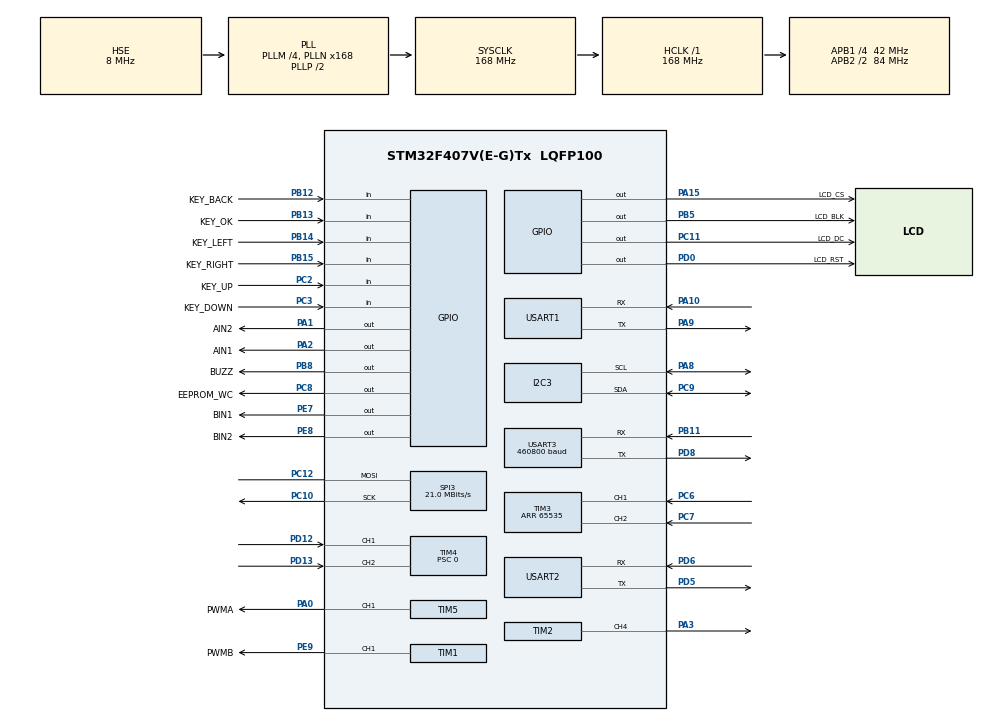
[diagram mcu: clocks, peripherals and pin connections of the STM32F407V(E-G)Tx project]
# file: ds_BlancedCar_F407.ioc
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Dma.Request0=USART1_RX
Dma.Request1=USART1_TX
Dma.Request2=SPI3_TX
Dma.Request3=USART3_RX
Dma.Request4=USART3_TX
Dma.Request5=TIM2_CH2/CH4
Dma.Request6=USART2_RX
Dma.SPI3_TX.2.Direction=DMA_MEMORY_TO_PERIPH
Dma.SPI3_TX.2.FIFOMode=DMA_FIFOMODE_DISABLE
Dma.SPI3_TX.2.Instance=DMA1_Stream7
Dma.SPI3_TX.2.MemDataAlignment=DMA_MDATAALIGN_BYTE
Dma.SPI3_TX.2.MemInc=DMA_MINC_ENABLE
Dma.SPI3_TX.2.Mode=DMA_NORMAL
Dma.SPI3_TX.2.PeriphDataAlignment=DMA_PDATAALIGN_BYTE
Dma.SPI3_TX.2.PeriphInc=DMA_PINC_DISABLE
Dma.SPI3_TX.2.Priority=DMA_PRIORITY_LOW
Dma.TIM2_CH2/CH4.5.Direction=DMA_MEMORY_TO_PERIPH
Dma.TIM2_CH2/CH4.5.FIFOMode=DMA_FIFOMODE_DISABLE
Dma.TIM2_CH2/CH4.5.Instance=DMA1_Stream6
Dma.TIM2_CH2/CH4.5.MemDataAlignment=DMA_MDATAALIGN_WORD
Dma.TIM2_CH2/CH4.5.MemInc=DMA_MINC_ENABLE
Dma.TIM2_CH2/CH4.5.Mode=DMA_CIRCULAR
Dma.TIM2_CH2/CH4.5.PeriphDataAlignment=DMA_PDATAALIGN_WORD
Dma.TIM2_CH2/CH4.5.PeriphInc=DMA_PINC_DISABLE
Dma.TIM2_CH2/CH4.5.Priority=DMA_PRIORITY_LOW
Dma.USART1_RX.0.Direction=DMA_PERIPH_TO_MEMORY
Dma.USART1_RX.0.FIFOMode=DMA_FIFOMODE_DISABLE
Dma.USART1_RX.0.Instance=DMA2_Stream2
Dma.USART1_RX.0.MemDataAlignment=DMA_MDATAALIGN_BYTE
Dma.USART1_RX.0.MemInc=DMA_MINC_ENABLE
Dma.USART1_RX.0.Mode=DMA_NORMAL
Dma.USART1_RX.0.PeriphDataAlignment=DMA_PDATAALIGN_BYTE
Dma.USART1_RX.0.PeriphInc=DMA_PINC_DISABLE
Dma.USART1_RX.0.Priority=DMA_PRIORITY_LOW
Dma.USART1_TX.1.Direction=DMA_MEMORY_TO_PERIPH
Dma.USART1_TX.1.FIFOMode=DMA_FIFOMODE_DISABLE
Dma.USART1_TX.1.Instance=DMA2_Stream7
Dma.USART1_TX.1.MemDataAlignment=DMA_MDATAALIGN_BYTE
Dma.USART1_TX.1.MemInc=DMA_MINC_ENABLE
Dma.USART1_TX.1.Mode=DMA_NORMAL
Dma.USART1_TX.1.PeriphDataAlignment=DMA_PDATAALIGN_BYTE
Dma.USART1_TX.1.PeriphInc=DMA_PINC_DISABLE
Dma.USART1_TX.1.Priority=DMA_PRIORITY_LOW
Dma.USART2_RX.6.Direction=DMA_PERIPH_TO_MEMORY
Dma.USART2_RX.6.FIFOMode=DMA_FIFOMODE_DISABLE
Dma.USART2_RX.6.Instance=DMA1_Stream5
Dma.USART2_RX.6.MemDataAlignment=DMA_MDATAALIGN_BYTE
Dma.USART2_RX.6.MemInc=DMA_MINC_ENABLE
Dma.USART2_RX.6.Mode=DMA_NORMAL
Dma.USART2_RX.6.PeriphDataAlignment=DMA_PDATAALIGN_BYTE
Dma.USART2_RX.6.PeriphInc=DMA_PINC_DISABLE
Dma.USART2_RX.6.Priority=DMA_PRIORITY_LOW
Dma.USART3_RX.3.Direction=DMA_PERIPH_TO_MEMORY
Dma.USART3_RX.3.FIFOMode=DMA_FIFOMODE_DISABLE
Dma.USART3_RX.3.Instance=DMA1_Stream1
Dma.USART3_RX.3.MemDataAlignment=DMA_MDATAALIGN_BYTE
Dma.USART3_RX.3.MemInc=DMA_MINC_ENABLE
Dma.USART3_RX.3.Mode=DMA_NORMAL
Dma.USART3_RX.3.PeriphDataAlignment=DMA_PDATAALIGN_BYTE
Dma.USART3_RX.3.PeriphInc=DMA_PINC_DISABLE
Dma.USART3_RX.3.Priority=DMA_PRIORITY_VERY_HIGH
Dma.USART3_TX.4.Direction=DMA_MEMORY_TO_PERIPH
Dma.USART3_TX.4.FIFOMode=DMA_FIFOMODE_DISABLE
Dma.USART3_TX.4.Instance=DMA1_Stream3
Dma.USART3_TX.4.MemDataAlignment=DMA_MDATAALIGN_BYTE
Dma.USART3_TX.4.MemInc=DMA_MINC_ENABLE
Dma.USART3_TX.4.Mode=DMA_NORMAL
Dma.USART3_TX.4.PeriphDataAlignment=DMA_PDATAALIGN_BYTE
Dma.USART3_TX.4.PeriphInc=DMA_PINC_DISABLE
Dma.USART3_TX.4.Priority=DMA_PRIORITY_VERY_HIGH
Mcu.Family=STM32F4
Mcu.Name=STM32F407V(E-G)Tx
Mcu.Package=LQFP100
NVIC.DMA1_Stream1_IRQn=true\:5\:0\:true\:false\:true\:false\:true\:true
NVIC.DMA1_Stream3_IRQn=true\:5\:0\:true\:false\:true\:false\:true\:true
NVIC.DMA1_Stream5_IRQn=true\:5\:0\:true\:false\:true\:false\:true\:true
NVIC.DMA1_Stream6_IRQn=true\:5\:0\:true\:false\:true\:false\:true\:true
NVIC.DMA1_Stream7_IRQn=true\:1\:0\:true\:false\:true\:false\:true\:true
NVIC.DMA2_Stream2_IRQn=true\:5\:0\:true\:false\:true\:false\:true\:true
NVIC.DMA2_Stream7_IRQn=true\:5\:0\:true\:false\:true\:false\:true\:true
NVIC.PriorityGroup=NVIC_PRIORITYGROUP_3
NVIC.SPI3_IRQn=true\:1\:0\:true\:false\:true\:true\:true\:true
NVIC.TIM1_UP_TIM10_IRQn=true\:1\:0\:true\:false\:true\:true\:true\:true
NVIC.TIM8_BRK_TIM12_IRQn=true\:0\:1\:false\:false\:true\:true\:true\:true
NVIC.TIM8_TRG_COM_TIM14_IRQn=true\:1\:0\:true\:false\:true\:true\:true\:true
NVIC.USART1_IRQn=true\:1\:0\:true\:false\:true\:false\:true\:true
NVIC.USART2_IRQn=true\:1\:0\:true\:false\:true\:true\:true\:true
NVIC.USART3_IRQn=true\:1\:0\:true\:false\:true\:true\:true\:true
PA0-WKUP.GPIO_Label=PWMA
PA0-WKUP.GPIO_ModeDefaultPP=GPIO_MODE_AF_PP
PA0-WKUP.GPIO_PuPd=GPIO_NOPULL
PA0-WKUP.GPIO_Speed=GPIO_SPEED_FREQ_LOW
PA0-WKUP.Signal=S_TIM5_CH1
PA1.GPIO_Label=AIN2
PA1.Signal=GPIO_Output
PA10.Mode=Asynchronous
PA10.Signal=USART1_RX
PA13.Mode=Serial_Wire
PA13.Signal=SYS_JTMS-SWDIO
PA14.Mode=Serial_Wire
PA14.Signal=SYS_JTCK-SWCLK
PA15.GPIO_Label=LCD_CS
PA15.GPIO_PuPd=GPIO_PULLUP
PA15.GPIO_Speed=GPIO_SPEED_FREQ_LOW
PA15.PinState=GPIO_PIN_RESET
PA15.Signal=GPIO_Output
PA2.GPIO_Label=AIN1
PA2.Signal=GPIO_Output
PA3.Signal=S_TIM2_CH4
PA8.GPIO_Pu=GPIO_PULLUP
PA8.Mode=I2C
PA8.Signal=I2C3_SCL
PA9.Mode=Asynchronous
PA9.Signal=USART1_TX
PB11.Mode=Asynchronous
PB11.Signal=USART3_RX
PB12.GPIO_Label=KEY_BACK
PB12.GPIO_PuPd=GPIO_PULLUP
PB12.Signal=GPIO_Input
PB13.GPIO_Label=KEY_OK
PB13.GPIO_PuPd=GPIO_PULLUP
PB13.Signal=GPIO_Input
PB14.GPIO_Label=KEY_LEFT
PB14.GPIO_PuPd=GPIO_PULLUP
PB14.Signal=GPIO_Input
PB15.GPIO_Label=KEY_RIGHT
PB15.GPIO_PuPd=GPIO_PULLUP
PB15.Signal=GPIO_Input
PB5.GPIO_Label=LCD_BLK
PB5.GPIO_ModeDefaultOutputPP=GPIO_MODE_OUTPUT_PP
PB5.GPIO_PuPd=GPIO_PULLUP
PB5.PinState=GPIO_PIN_SET
PB5.Signal=GPIO_Output
PB8.GPIO_Label=BUZZ
PB8.GPIO_ModeDefaultOutputPP=GPIO_MODE_OUTPUT_OD
PB8.GPIO_PuPd=GPIO_NOPULL
PB8.PinState=GPIO_PIN_SET
PB8.Signal=GPIO_Output
PC10.Mode=Simplex_Bidirectional_Master
PC10.Signal=SPI3_SCK
PC11.GPIO_Label=LCD_DC
PC11.GPIO_PuPd=GPIO_PULLUP
PC11.GPIO_Speed=GPIO_SPEED_FREQ_LOW
PC11.Signal=GPIO_Output
PC12.Mode=Simplex_Bidirectional_Master
PC12.Signal=SPI3_MOSI
PC2.GPIO_Label=KEY_UP
PC2.GPIO_PuPd=GPIO_PULLUP
PC2.Signal=GPIO_Input
PC3.GPIO_Label=KEY_DOWN
PC3.GPIO_PuPd=GPIO_PULLUP
PC3.Signal=GPIO_Input
PC6.Signal=S_TIM3_CH1
PC7.Signal=S_TIM3_CH2
PC8.GPIO_Label=EEPROM_WC
PC8.GPIO_PuPd=GPIO_PULLDOWN
PC8.PinState=GPIO_PIN_RESET
PC8.Signal=GPIO_Output
PC9.GPIO_Pu=GPIO_PULLUP
PC9.Mode=I2C
PC9.Signal=I2C3_SDA
PD0.GPIO_Label=LCD_RST
PD0.GPIO_PuPd=GPIO_PULLUP
PD0.GPIO_Speed=GPIO_SPEED_FREQ_LOW
PD0.PinState=GPIO_PIN_SET
PD0.Signal=GPIO_Output
PD12.Signal=S_TIM4_CH1
PD13.Signal=S_TIM4_CH2
PD5.Mode=Asynchronous
PD5.Signal=USART2_TX
PD6.Mode=Asynchronous
PD6.Signal=USART2_RX
PD8.Mode=Asynchronous
PD8.Signal=USART3_TX
PE7.GPIO_Label=BIN1
PE7.Signal=GPIO_Output
PE8.GPIO_Label=BIN2
PE8.Signal=GPIO_Output
PE9.GPIO_Label=PWMB
PE9.GPIO_Speed=GPIO_SPEED_FREQ_LOW
PE9.Signal=S_TIM1_CH1
PH0-OSC_IN.Mode=HSE-External-Oscillator
PH0-OSC_IN.Signal=RCC_OSC_IN
PH1-OSC_OUT.Mode=HSE-External-Oscillator
PH1-OSC_OUT.Signal=RCC_OSC_OUT
ProjectManager.HeapSize=0x4000
ProjectManager.StackSize=0x4000
ProjectManager.TargetToolchain=MDK-ARM V5.32
RCC.48MHZClocksFreq_Value=48000000
RCC.AHBFreq_Value=168000000
RCC.APB1CLKDivider=RCC_HCLK_DIV4
RCC.APB1Freq_Value=42000000
RCC.APB1TimFreq_Value=84000000
RCC.APB2CLKDivider=RCC_HCLK_DIV2
RCC.APB2Freq_Value=84000000
RCC.APB2TimFreq_Value=168000000
RCC.CortexFreq_Value=168000000
RCC.HCLKFreq_Value=168000000
RCC.HSE_VALUE=8000000
RCC.HSI_VALUE=16000000
RCC.LSE_VALUE=32768
RCC.PLLM=4
RCC.PLLN=168
RCC.PLLQ=7
RCC.PLLSourceVirtual=RCC_PLLSOURCE_HSE
RCC.SYSCLKFreq_VALUE=168000000
RCC.SYSCLKSource=RCC_SYSCLKSOURCE_PLLCLK
RCC.VCOOutputFreq_Value=336000000
SH.S_TIM1_CH1.0=TIM1_CH1,PWM Generation1 CH1
SH.S_TIM2_CH4.0=TIM2_CH4,PWM Generation4 CH4
SH.S_TIM3_CH1.0=TIM3_CH1,Encoder_Interface
SH.S_TIM3_CH2.0=TIM3_CH2,Encoder_Interface
SH.S_TIM4_CH1.0=TIM4_CH1,Encoder_Interface
SH.S_TIM4_CH2.0=TIM4_CH2,Encoder_Interface
SH.S_TIM5_CH1.0=TIM5_CH1,PWM Generation1 CH1
SPI3.BaudRatePrescaler=SPI_BAUDRATEPRESCALER_2
SPI3.CalculateBaudRate=21.0 MBits/s
SPI3.Direction=SPI_DIRECTION_1LINE
SPI3.Mode=SPI_MODE_MASTER
SPI3.VirtualType=VM_MASTER
TIM1.Channel-PWM\ Generation1\ CH1=TIM_CHANNEL_1
TIM1.Period=4000-1
TIM1.Prescaler=0
TIM12.Period=1000-1
TIM12.Prescaler=84-1
TIM14.Period=5000-1
TIM14.Prescaler=84-1
TIM2.Channel-PWM\ Generation4\ CH4=TIM_CHANNEL_4
TIM2.Period=210
TIM3.AutoReloadPreload=TIM_AUTORELOAD_PRELOAD_DISABLE
TIM3.EncoderMode=TIM_ENCODERMODE_TI1
TIM3.Period=65535
TIM4.AutoReloadPreload=TIM_AUTORELOAD_PRELOAD_DISABLE
TIM4.EncoderMode=TIM_ENCODERMODE_TI1
TIM4.Period=65535
TIM4.Prescaler=0
TIM5.Channel-PWM\ Generation1\ CH1=TIM_CHANNEL_1
TIM5.Period=4000-1
TIM5.Prescaler=0
USART1.VirtualMode=VM_ASYNC
USART2.VirtualMode=VM_ASYNC
USART3.BaudRate=460800
USART3.Parity=PARITY_NONE
USART3.VirtualMode=VM_ASYNC
VP_RNG_VS_RNG.Mode=RNG_Activate
VP_TIM12_VS_ClockSourceINT.Mode=Internal
VP_TIM14_VS_ClockSourceINT.Mode=Enable_Timer
VP_TIM1_VS_ClockSourceINT.Mode=Internal
VP_TIM5_VS_ClockSourceINT.Mode=Internal
board=custom

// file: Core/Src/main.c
/* USER CODE BEGIN Header */
/**
  ******************************************************************************
  * @file           : main.c
  * @brief          : Main program body
  ******************************************************************************
  * @attention
  *
  * Copyright (c) 2025 STMicroelectronics.
  * All rights reserved.
  *
  * This software is licensed under terms that can be found in the LICENSE file
  * in the root directory of this software component.
  * If no LICENSE file comes with this software, it is provided AS-IS.
  *
  ******************************************************************************
  */
/* USER CODE END Header */
#include "main.h"
#include "dma.h"
#include "i2c.h"
#include "rng.h"
#include "spi.h"
#include "tim.h"
#include "usart.h"
#include "gpio.h"

/* USER CODE BEGIN Includes */
#include "LCD_ST7789S.h"
#include "Music.h"
#include "tb6612.h"
#include "control.h"
#include "pid.h"
#include "uart_unpack.h"
#include "ws2812.h"
#include "key.h"
#include "UI.h"
#include "EEPROM.h"
/* USER CODE END Includes */

void SystemClock_Config(void);

int main(void)
{

  /* MCU Configuration--------------------------------------------------------*/

  /* Reset of all peripherals, Initializes the Flash interface and the Systick. */
  HAL_Init();

  /* Configure the system clock */
  SystemClock_Config();

  /* USER CODE BEGIN SysInit */
	delay_init(168);//延时初始化  --别动！！！
  /* USER CODE END SysInit */

  /* Initialize all configured peripherals */
  MX_GPIO_Init();
  MX_DMA_Init();
  MX_USART1_UART_Init();
  MX_TIM1_Init();
  MX_SPI3_Init();
  MX_I2C3_Init();
  MX_TIM4_Init();
  MX_TIM5_Init();
  MX_TIM3_Init();
  MX_TIM12_Init();
  MX_TIM14_Init();
  MX_USART3_UART_Init();
  MX_TIM2_Init();
  MX_RNG_Init();
  MX_USART2_UART_Init();
  /* USER CODE BEGIN 2 */

	TFTSPI_Init();  //屏幕初始化lcd
	WS2812_Init(); //WS2812初始化

	//Play_Music(&Open);  //开机音效
	//delay_ms(1000);

	Control_Init(&the_car);//控制器初始化

	if(E2P_Check())//EEPROM检测
	{
		TFT_Printf(0,0,COLOR_RED,COLOR_BLACK,fsize_12X24,"EEPROM_ERR");
	}
	else
	{
		E2P_Read_allParam();//读取EEPROM中的参数 放在control_init之前
	}

	HAL_TIM_Encoder_Start(&htim3, TIM_CHANNEL_ALL);//启动编码器读取
	HAL_TIM_Encoder_Start(&htim4, TIM_CHANNEL_ALL);//启动编码器读取
	HAL_TIM_Base_Start_IT(&htim12);//任务定时器启动
	HAL_TIM_Base_Start_IT(&htim14);//任务定时器启动
	HAL_UARTEx_ReceiveToIdle_DMA(&huart3, USART3_RX_BUF, 128); //开启imu数据接收DMA空闲中断
	HAL_UARTEx_ReceiveToIdle_DMA(&huart2, USART2_RX_BUF, 128); //开启视觉数据接收DMA空闲中断
	HAL_UARTEx_ReceiveToIdle_DMA(&huart1, USART1_RX_BUF, 128); //开启蓝牙数据接收DMA空闲中断
	the_car.Motor_L->motor_status = M_On;
	the_car.Motor_R->motor_status = M_On;
	while(the_car.Imu->is_ok != 1)//等待IMU初始化
	{
		TFT_Printf(32,60,COLOR_RED,COLOR_BLACK,fsize_16X32,"IMU_Waiting");
	}
  /* USER CODE END 2 */

  /* Infinite loop */
  /* USER CODE BEGIN WHILE */

	while (1)
  {
		main_menu();
    /* USER CODE END WHILE */

  }
}

void SystemClock_Config(void)
{
  RCC_OscInitTypeDef RCC_OscInitStruct = {0};
  RCC_ClkInitTypeDef RCC_ClkInitStruct = {0};

  /** Configure the main internal regulator output voltage
  */
  __HAL_RCC_PWR_CLK_ENABLE();
  __HAL_PWR_VOLTAGESCALING_CONFIG(PWR_REGULATOR_VOLTAGE_SCALE1);

  /** Initializes the RCC Oscillators according to the specified parameters
  * in the RCC_OscInitTypeDef structure.
  */
  RCC_OscInitStruct.OscillatorType = RCC_OSCILLATORTYPE_HSE;
  RCC_OscInitStruct.HSEState = RCC_HSE_ON;
  RCC_OscInitStruct.PLL.PLLState = RCC_PLL_ON;
  RCC_OscInitStruct.PLL.PLLSource = RCC_PLLSOURCE_HSE;
  RCC_OscInitStruct.PLL.PLLM = 4;
  RCC_OscInitStruct.PLL.PLLN = 168;
  RCC_OscInitStruct.PLL.PLLP = RCC_PLLP_DIV2;
  RCC_OscInitStruct.PLL.PLLQ = 7;
  if (HAL_RCC_OscConfig(&RCC_OscInitStruct) != HAL_OK)
  {
    Error_Handler();
  }

  /** Initializes the CPU, AHB and APB buses clocks
  */
  RCC_ClkInitStruct.ClockType = RCC_CLOCKTYPE_HCLK|RCC_CLOCKTYPE_SYSCLK
                              |RCC_CLOCKTYPE_PCLK1|RCC_CLOCKTYPE_PCLK2;
  RCC_ClkInitStruct.SYSCLKSource = RCC_SYSCLKSOURCE_PLLCLK;
  RCC_ClkInitStruct.AHBCLKDivider = RCC_SYSCLK_DIV1;
  RCC_ClkInitStruct.APB1CLKDivider = RCC_HCLK_DIV4;
  RCC_ClkInitStruct.APB2CLKDivider = RCC_HCLK_DIV2;

  if (HAL_RCC_ClockConfig(&RCC_ClkInitStruct, FLASH_LATENCY_5) != HAL_OK)
  {
    Error_Handler();
  }
}

void Error_Handler(void)
{
  __disable_irq();
  while (1)
  {
  }
}
